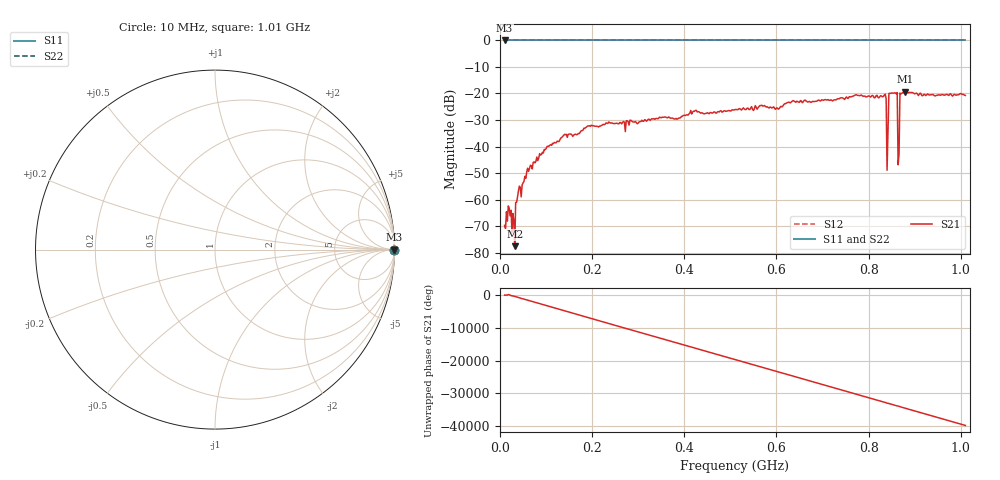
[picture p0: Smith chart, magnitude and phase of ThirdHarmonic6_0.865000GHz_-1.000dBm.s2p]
! 8/16/2025 4:35:11 AM
! C:\ANRITSUVNA\TEMP\TEMP.S2P
! CHANNEL.1
! TR.MEASUREMENT
! RAW.DATA
! RF.CORRECTION.OFF
! AVERAGING.OFF
! IF.BANDWIDTH: 5KHZ
! SWEEPTYPE:  FREQ.SWEEP(Linear)
! Reference Plane Port Info
! PORT:  PORT1  PORT2
! DISTANCE:  0  m  0  m
! TIME:  0  s  0  s
! PHASE.OFFSET:  0  deg.  0  deg.
! LOSS:  0  dB  0  dB
! REF.LOSS:  0  dB  0  dB
! REF.FREQ:  0  Hz  0  Hz
! Power Info
! POWER:  -20  dBm  -20  dBm
! EFF.POWER:  -20  dBm  -20  dBm
! SOURCE.ATTEN:  0  dB  0  dB
! TEST.ATTEN:  0  dB  0  dB
# GHZ S RI R 50.0
! FREQ.GHZ  S11RE  S11IM  S21RE  S21IM  S12RE  S12IM  S22RE  S22IM
!; PortSelection: Port_12
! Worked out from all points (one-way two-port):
!   501 points, 10 MHz to 1.01 GHz, reference 50 ohm
!   highest |S21| = -19.29 dB at 880 MHz (marker M1); lowest = -77.6 dB at 32 MHz (marker M2)
!   lowest |S11| = 0.0 dB at 10 MHz (marker M3)
!   |S11| at or under -10 dB: nowhere
!   |S22| runs from 0.0 to 0.0 dB; largest |S21 - S12| = 1.1
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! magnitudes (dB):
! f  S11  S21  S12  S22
! 10 MHz  0.0  -69.7  0.0  0.0
! 18 MHz  0.0  -62.4  0.0  0.0
! 28 MHz  0.0  -65.3  0.0  0.0
! 32 MHz  0.0  -77.6  0.0  0.0
! 38 MHz  0.0  -59.0  0.0  0.0
! 64 MHz  0.0  -48.3  0.0  0.0
! 106 MHz  0.0  -39.9  0.0  0.0
! 178 MHz  0.0  -34.0  0.0  0.0
! 344 MHz  0.0  -29.4  0.0  0.0
! 510 MHz  0.0  -26.1  0.0  0.0
! 678 MHz  0.0  -23.0  0.0  0.0
! 832 MHz  0.0  -21.1  0.0  0.0
! 834 MHz  0.0  -20.6  0.0  0.0
! 838 MHz  0.0  -21.9  0.0  0.0
! 844 MHz  0.0  -20.0  0.0  0.0
! 848 MHz  0.0  -19.9  0.0  0.0
! 858 MHz  0.0  -19.8  0.0  0.0
! 862 MHz  0.0  -19.7  0.0  0.0
! 868 MHz  0.0  -19.8  0.0  0.0
! 872 MHz  0.0  -19.9  0.0  0.0
! 880 MHz  0.0  -19.3  0.0  0.0
! 1.01 GHz  0.0  -20.7  0.0  0.0
